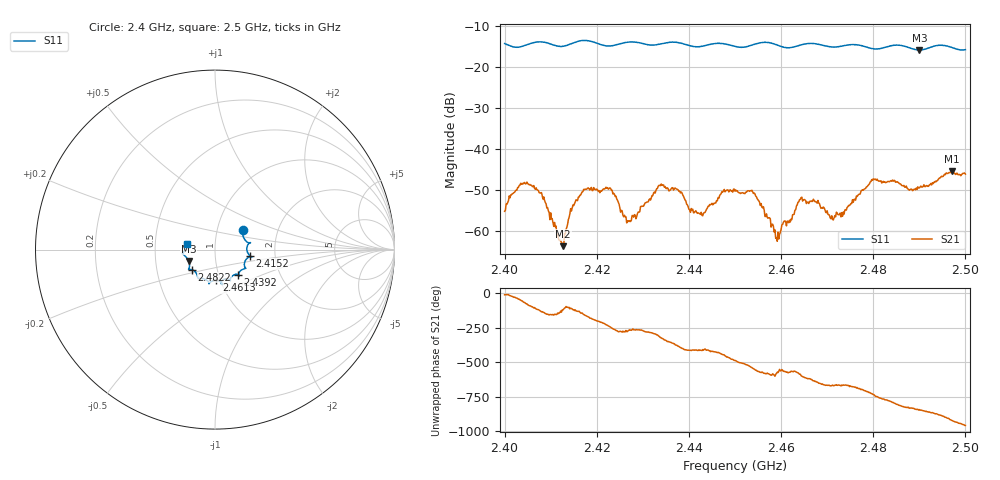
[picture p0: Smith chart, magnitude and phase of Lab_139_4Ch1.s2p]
# Hz S RI R 50
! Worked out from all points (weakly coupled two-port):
!   601 points, 2.4 GHz to 2.5 GHz, reference 50 ohm
!   highest |S21| = -45.48 dB at 2.497 GHz (marker M1); lowest = -63.7 dB at 2.4127 GHz (marker M2)
!   lowest |S11| = -15.9 dB at 2.49 GHz (marker M3), VSWR 1.38, Z = 36.9 - j4.85 ohm
!   |S11| at or under -10 dB: start of sweep to end of sweep
!   S12 and S22 are empty: the file has one direction only
!   S11 on the Smith chart (normalised r, x): 2.4 GHz: 1.33, +0.31; 2.4152 GHz: 1.48, -0.11; 2.4392 GHz: 1.23, -0.35; 2.4613 GHz: 0.96, -0.34; 2.4822 GHz: 0.76, -0.17; 2.5 GHz: 0.73, +0.05
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2.4e9  0.1565 0.1115  0.00171 -0.000288  0 0  0 0
2.405333e9  0.186 0.0382  9.36e-05 -0.00365  0 0  0 0
2.412667e9  0.1779 -0.00395  -0.000327 -0.000564  0 0  0 0
2.415167e9  0.1952 -0.0358  -0.00121 -0.00177  0 0  0 0
2.416667e9  0.2047 -0.0418  -0.00229 -0.00173  0 0  0 0
2.422833e9  0.1654 -0.0707  -0.00159 0.00295  0 0  0 0
2.427e9  0.1717 -0.1038  -4.87e-05 0.0013  0 0  0 0
2.433333e9  0.133 -0.1324  0.00211 0.0028  0 0  0 0
2.439167e9  0.1268 -0.1387  0.00156 -0.0018  0 0  0 0
2.442833e9  0.0914 -0.1527  0.000881 -0.00127  0 0  0 0
2.45e9  0.0687 -0.1636  -0.00184 -0.00243  0 0  0 0
2.454e9  0.0353 -0.1833  -0.00284 0.000343  0 0  0 0
2.459e9  0.0343 -0.1828  -0.000618 0.000553  0 0  0 0
2.461333e9  0.0078 -0.1707  -0.00112 0.000694  0 0  0 0
2.464e9  -0.0264 -0.1813  -0.00163 0.00176  0 0  0 0
2.466667e9  -0.0332 -0.1902  -0.000149 0.00232  0 0  0 0
2.471333e9  -0.0572 -0.1645  0.000883 0.00103  0 0  0 0
2.482167e9  -0.1282 -0.1119  0.0027 -0.00297  0 0  0 0
2.483333e9  -0.1396 -0.1102  0.00202 -0.00346  0 0  0 0
2.49e9  -0.1469 -0.0641  -0.0019 -0.00274  0 0  0 0
2.497e9  -0.1724 -0.0114  -0.00489 0.00208  0 0  0 0
2.5e9  -0.1584 0.0338  -0.00246 0.00427  0 0  0 0
